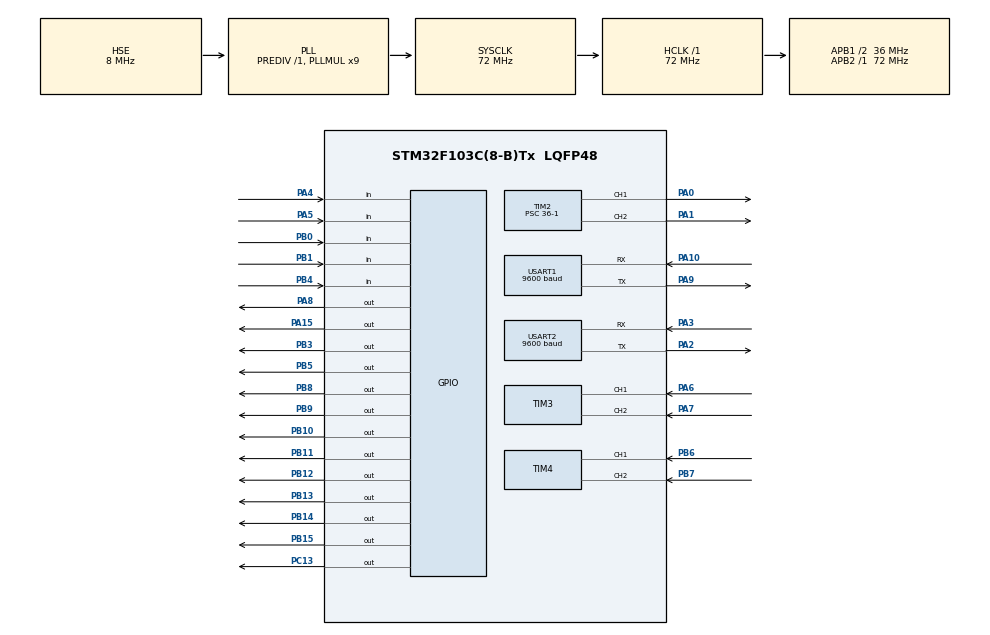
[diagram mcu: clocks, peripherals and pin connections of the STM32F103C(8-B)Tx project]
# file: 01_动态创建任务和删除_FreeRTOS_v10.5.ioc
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Mcu.Family=STM32F1
Mcu.Name=STM32F103C(8-B)Tx
Mcu.Package=LQFP48
NVIC.PriorityGroup=NVIC_PRIORITYGROUP_4
NVIC.TIM1_UP_IRQn=true\:1\:0\:true\:false\:true\:true\:true\:true
NVIC.TimeBase=TIM1_UP_IRQn
NVIC.TimeBaseIP=TIM1
NVIC.USART1_IRQn=true\:7\:0\:true\:false\:true\:true\:true\:true
NVIC.USART2_IRQn=true\:7\:0\:true\:false\:true\:true\:true\:true
PA0-WKUP.GPIO_Speed=GPIO_SPEED_FREQ_HIGH
PA0-WKUP.Signal=S_TIM2_CH1_ETR
PA1.GPIO_Speed=GPIO_SPEED_FREQ_HIGH
PA1.Signal=S_TIM2_CH2
PA10.GPIO_PuPd=GPIO_PULLUP
PA10.Mode=Asynchronous
PA10.Signal=USART1_RX
PA13.Mode=Serial_Wire
PA13.Signal=SYS_JTMS-SWDIO
PA14.Mode=Serial_Wire
PA14.Signal=SYS_JTCK-SWCLK
PA15.GPIO_Speed=GPIO_SPEED_FREQ_HIGH
PA15.PinState=GPIO_PIN_SET
PA15.Signal=GPIO_Output
PA2.Mode=Asynchronous
PA2.Signal=USART2_TX
PA3.GPIO_PuPd=GPIO_PULLUP
PA3.Mode=Asynchronous
PA3.Signal=USART2_RX
PA4.GPIO_PuPd=GPIO_PULLUP
PA4.Signal=GPIO_Input
PA5.GPIO_PuPd=GPIO_PULLUP
PA5.Signal=GPIO_Input
PA6.GPIO_PuPd=GPIO_PULLUP
PA6.Signal=S_TIM3_CH1
PA7.GPIO_PuPd=GPIO_PULLUP
PA7.Signal=S_TIM3_CH2
PA8.GPIO_Speed=GPIO_SPEED_FREQ_HIGH
PA8.Signal=GPIO_Output
PA9.Mode=Asynchronous
PA9.Signal=USART1_TX
PB0.GPIO_PuPd=GPIO_PULLUP
PB0.Signal=GPIO_Input
PB1.GPIO_PuPd=GPIO_PULLUP
PB1.Signal=GPIO_Input
PB10.GPIO_ModeDefaultOutputPP=GPIO_MODE_OUTPUT_OD
PB10.GPIO_PuPd=GPIO_PULLUP
PB10.GPIO_Speed=GPIO_SPEED_FREQ_HIGH
PB10.PinState=GPIO_PIN_SET
PB10.Signal=GPIO_Output
PB11.GPIO_ModeDefaultOutputPP=GPIO_MODE_OUTPUT_OD
PB11.GPIO_PuPd=GPIO_PULLUP
PB11.GPIO_Speed=GPIO_SPEED_FREQ_HIGH
PB11.PinState=GPIO_PIN_SET
PB11.Signal=GPIO_Output
PB12.GPIO_Speed=GPIO_SPEED_FREQ_HIGH
PB12.PinState=GPIO_PIN_SET
PB12.Signal=GPIO_Output
PB13.GPIO_Speed=GPIO_SPEED_FREQ_HIGH
PB13.PinState=GPIO_PIN_SET
PB13.Signal=GPIO_Output
PB14.GPIO_Speed=GPIO_SPEED_FREQ_HIGH
PB14.PinState=GPIO_PIN_SET
PB14.Signal=GPIO_Output
PB15.GPIO_Speed=GPIO_SPEED_FREQ_HIGH
PB15.PinState=GPIO_PIN_SET
PB15.Signal=GPIO_Output
PB3.GPIO_Speed=GPIO_SPEED_FREQ_HIGH
PB3.Signal=GPIO_Output
PB4.GPIO_PuPd=GPIO_PULLUP
PB4.Signal=GPIO_Input
PB5.GPIO_Speed=GPIO_SPEED_FREQ_HIGH
PB5.Signal=GPIO_Output
PB6.GPIO_PuPd=GPIO_PULLUP
PB6.Signal=S_TIM4_CH1
PB7.GPIO_PuPd=GPIO_PULLUP
PB7.Signal=S_TIM4_CH2
PB8.GPIO_ModeDefaultOutputPP=GPIO_MODE_OUTPUT_OD
PB8.GPIO_PuPd=GPIO_PULLUP
PB8.GPIO_Speed=GPIO_SPEED_FREQ_HIGH
PB8.PinState=GPIO_PIN_SET
PB8.Signal=GPIO_Output
PB9.GPIO_ModeDefaultOutputPP=GPIO_MODE_OUTPUT_OD
PB9.GPIO_PuPd=GPIO_PULLUP
PB9.GPIO_Speed=GPIO_SPEED_FREQ_HIGH
PB9.PinState=GPIO_PIN_SET
PB9.Signal=GPIO_Output
PC13-TAMPER-RTC.GPIO_ModeDefaultOutputPP=GPIO_MODE_OUTPUT_PP
PC13-TAMPER-RTC.GPIO_PuPd=GPIO_NOPULL
PC13-TAMPER-RTC.GPIO_Speed=GPIO_SPEED_FREQ_HIGH
PC13-TAMPER-RTC.PinState=GPIO_PIN_SET
PC13-TAMPER-RTC.Signal=GPIO_Output
PD0-OSC_IN.Mode=HSE-External-Oscillator
PD0-OSC_IN.Signal=RCC_OSC_IN
PD1-OSC_OUT.Mode=HSE-External-Oscillator
PD1-OSC_OUT.Signal=RCC_OSC_OUT
ProjectManager.HeapSize=0x200
ProjectManager.StackSize=0x400
ProjectManager.TargetToolchain=CMake
RCC.ADCPresc=RCC_ADCPCLK2_DIV6
RCC.AHBFreq_Value=72000000
RCC.APB1CLKDivider=RCC_HCLK_DIV2
RCC.APB1Freq_Value=36000000
RCC.APB1TimFreq_Value=72000000
RCC.APB2Freq_Value=72000000
RCC.APB2TimFreq_Value=72000000
RCC.HCLKFreq_Value=72000000
RCC.PLLMUL=RCC_PLL_MUL9
RCC.PLLSourceVirtual=RCC_PLLSOURCE_HSE
RCC.SYSCLKFreq_VALUE=72000000
RCC.SYSCLKSource=RCC_SYSCLKSOURCE_PLLCLK
RCC.USBFreq_Value=72000000
SH.S_TIM2_CH1_ETR.0=TIM2_CH1,PWM Generation1 CH1
SH.S_TIM2_CH2.0=TIM2_CH2,PWM Generation2 CH2
SH.S_TIM3_CH1.0=TIM3_CH1,Encoder_Interface
SH.S_TIM3_CH2.0=TIM3_CH2,Encoder_Interface
SH.S_TIM4_CH1.0=TIM4_CH1,Encoder_Interface
SH.S_TIM4_CH2.0=TIM4_CH2,Encoder_Interface
TIM2.AutoReloadPreload=TIM_AUTORELOAD_PRELOAD_ENABLE
TIM2.Channel-PWM\ Generation1\ CH1=TIM_CHANNEL_1
TIM2.Channel-PWM\ Generation2\ CH2=TIM_CHANNEL_2
TIM2.Period=100-1
TIM2.Prescaler=36-1
TIM3.AutoReloadPreload=TIM_AUTORELOAD_PRELOAD_ENABLE
TIM3.EncoderMode=TIM_ENCODERMODE_TI12
TIM3.IC1Filter=15
TIM3.IC2Filter=15
TIM4.AutoReloadPreload=TIM_AUTORELOAD_PRELOAD_ENABLE
TIM4.EncoderMode=TIM_ENCODERMODE_TI12
TIM4.IC1Filter=15
TIM4.IC2Filter=15
USART1.BaudRate=9600
USART1.VirtualMode=VM_ASYNC
USART2.BaudRate=9600
USART2.VirtualMode=VM_ASYNC
VP_SYS_VS_tim1.Mode=TIM1
VP_TIM2_VS_ClockSourceINT.Mode=Internal
board=custom

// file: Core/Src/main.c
/* USER CODE BEGIN Header */
/**
  ******************************************************************************
  * @file           : main.c
  * @brief          : Main program body
  ******************************************************************************
  * @attention
  *
  * Copyright (c) 2026 STMicroelectronics.
  * All rights reserved.
  *
  * This software is licensed under terms that can be found in the LICENSE file
  * in the root directory of this software component.
  * If no LICENSE file comes with this software, it is provided AS-IS.
  *
  ******************************************************************************
  */
/* USER CODE END Header */
#include "main.h"
#include "stm32f1xx_hal.h"
#include "tim.h"
#include "usart.h"
#include "gpio.h"

/* USER CODE BEGIN Includes */
#include "OLED.h"
#include "LED.h"
#include <stdint.h>
#include <stdio.h>
#include "Key.h"
#include <math.h>
#include <string.h>
#include <stdlib.h>
#include "MPU6050.h"
#include "Motor.h"
#include "PID.h"
#include "Encoder.h"
#include "Serial.h"
#include "NRF24L01.h"
#include "FreeRTOS.h"
#include "task.h"
#include "freertos_demo.h"
/* USER CODE END Includes */

/* USER CODE BEGIN PV */

int16_t AX, AY, AZ, GX, GY, GZ;
/*加速度计测得的俯仰角*/
float AngleAcc;
/*角速度计测得的俯仰角*/
float AngleGyro;
/*滤波后得到的俯仰角*/
float Angle;

uint8_t KeyNum, RunFlag;

int16_t LeftPWM, RightPWM;
int16_t AvePWM, DifPWM;

float LeftSpeed, RightSpeed;
float AveSpeed, DifSpeed;

PID_t AnglePID = {
  .Kp = 4,
  .Ki = 0.2,
  .Kd = 6,
  .OutMax = 100,
  .OutMin = -100,
  .ErrorMax = 100,
};
PID_t SpeedPID = {
  .Kp = 2.5,
  .Ki = 0,
  .Kd = 0,
  .OutMax = 20,
  .OutMin = -20,
  .ErrorMax = 100,
};
PID_t TurnPID = {
  .Kp = 2,
  .Ki = 4,
  .Kd = 0,
  .OutMax = 50,
  .OutMin = -50,
  .ErrorMax = 100,
};

uint8_t RxFlag = 0;
/*串口数据接收缓冲变量*/
uint8_t RxData;
char Rx_buffer[100];

/* USER CODE END PV */

void SystemClock_Config(void);

int main(void)
{

  /* MCU Configuration--------------------------------------------------------*/

  /* Reset of all peripherals, Initializes the Flash interface and the Systick. */
  HAL_Init();

  /* Configure the system clock */
  SystemClock_Config();

  /* Initialize all configured peripherals */
  MX_GPIO_Init();
  MX_USART1_UART_Init();
  MX_TIM2_Init();
  MX_TIM3_Init();
  MX_TIM4_Init();
  MX_USART2_UART_Init();
  /* USER CODE BEGIN 2 */
  MPU6050_Init();
  HAL_TIM_PWM_Start(&htim2, TIM_CHANNEL_1);
  HAL_TIM_PWM_Start(&htim2, TIM_CHANNEL_2);
  HAL_TIM_Encoder_Start(&htim3, TIM_CHANNEL_ALL);
  HAL_TIM_Encoder_Start(&htim4, TIM_CHANNEL_ALL);
  OLED_Init();
  NRF24L01_Init();
  // HAL_UART_Receive_IT(&huart1, &RxData, 1);
  HAL_UART_Receive_IT(&huart2, &RxData, 1);

  freertos_start();
  /* USER CODE END 2 */

  /* Infinite loop */
  while (1)
  {

  }
}

void SystemClock_Config(void)
{
  RCC_OscInitTypeDef RCC_OscInitStruct = {0};
  RCC_ClkInitTypeDef RCC_ClkInitStruct = {0};

  /** Initializes the RCC Oscillators according to the specified parameters
  * in the RCC_OscInitTypeDef structure.
  */
  RCC_OscInitStruct.OscillatorType = RCC_OSCILLATORTYPE_HSE;
  RCC_OscInitStruct.HSEState = RCC_HSE_ON;
  RCC_OscInitStruct.HSEPredivValue = RCC_HSE_PREDIV_DIV1;
  RCC_OscInitStruct.HSIState = RCC_HSI_ON;
  RCC_OscInitStruct.PLL.PLLState = RCC_PLL_ON;
  RCC_OscInitStruct.PLL.PLLSource = RCC_PLLSOURCE_HSE;
  RCC_OscInitStruct.PLL.PLLMUL = RCC_PLL_MUL9;
  if (HAL_RCC_OscConfig(&RCC_OscInitStruct) != HAL_OK)
  {
    Error_Handler();
  }

  /** Initializes the CPU, AHB and APB buses clocks
  */
  RCC_ClkInitStruct.ClockType = RCC_CLOCKTYPE_HCLK|RCC_CLOCKTYPE_SYSCLK
                              |RCC_CLOCKTYPE_PCLK1|RCC_CLOCKTYPE_PCLK2;
  RCC_ClkInitStruct.SYSCLKSource = RCC_SYSCLKSOURCE_PLLCLK;
  RCC_ClkInitStruct.AHBCLKDivider = RCC_SYSCLK_DIV1;
  RCC_ClkInitStruct.APB1CLKDivider = RCC_HCLK_DIV2;
  RCC_ClkInitStruct.APB2CLKDivider = RCC_HCLK_DIV1;

  if (HAL_RCC_ClockConfig(&RCC_ClkInitStruct, FLASH_LATENCY_2) != HAL_OK)
  {
    Error_Handler();
  }
}

/* USER CODE BEGIN 4 */

/**
  * @brief  任务栈溢出钩子函数，当FreeRTOS检测到任务栈溢出时被调用
  *         （由FreeRTOSConfig.h中的configCHECK_FOR_STACK_OVERFLOW = 2启用）
  * 参    数：xTask 发生溢出的任务句柄，pcTaskName 任务名称
  * 返 回 值：无
  */
void vApplicationStackOverflowHook(TaskHandle_t xTask, char *pcTaskName)
{
  (void)xTask;
  (void)pcTaskName;
  taskDISABLE_INTERRUPTS();
  while (1)
  {
    LED_ON();
    HAL_Delay(500);
    LED_OFF();
    HAL_Delay(500);
  }
}

/**
  * @brief  Redirect printf to UART1 (via _write syscall for ARM GCC)
  * @param  file: 文件描述符
  * @param  ptr:  数据缓冲区指针
  * @param  len:  数据长度
  * @retval 实际发送的字节数
  */
int _write(int file, char *ptr, int len)
{
  HAL_UART_Transmit(&huart1, (uint8_t *)ptr, len, HAL_MAX_DELAY);
  return len;
}

void HAL_UART_RxCpltCallback(UART_HandleTypeDef *huart){
  static uint8_t RxState = 0;
  static uint8_t pRxPacket = 0;
  if(huart->Instance == USART1){

  }
  else if(huart->Instance == USART2){
    /*识别数据包格式*/
    if(RxState == 0){
      if(RxData == '[' && RxFlag == 0){
        RxState = 1;
        pRxPacket = 0;
      }
    }
    else if(RxState == 1){
      if(RxData == ']'){
        RxState = 0;
        Rx_buffer[pRxPacket] = '\0';
        RxFlag = 1;
      }
      else{
        Rx_buffer[pRxPacket] = RxData;
        pRxPacket++;
      }
    }
    HAL_UART_Receive_IT(&huart2, &RxData, 1);
  }
}
/* USER CODE END 4 */

void HAL_TIM_PeriodElapsedCallback(TIM_HandleTypeDef *htim)
{
  if (htim->Instance == TIM1)
  {
    HAL_IncTick();
  }
  /* USER CODE BEGIN Callback 1 */
  /* TIM1为1ms时基(中断优先级1)，在此做按键扫描：Key_Tick()内部每20次判定一次按键（20ms去抖），
     且不调用任何FreeRTOS API，因此在中断中调用是安全的 */
  if (htim->Instance == TIM1)
  {
    Key_Tick();
  }

  /* USER CODE END Callback 1 */
}

void Error_Handler(void)
{
  __disable_irq();
  while (1)
  {
  }
}
